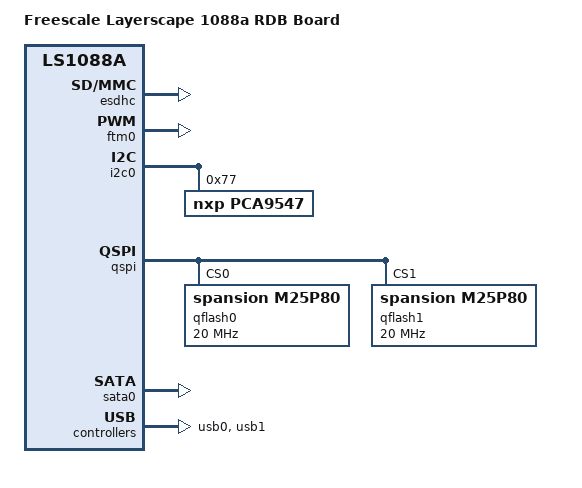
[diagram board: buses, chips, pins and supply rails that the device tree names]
/*
 * Device Tree file for Freescale LS1088a RDB board
 *
 * Copyright (C) 2015, Freescale Semiconductor
 *
 * This file is licensed under the terms of the GNU General Public
 * License version 2.  This program is licensed "as is" without any
 * warranty of any kind, whether express or implied.
 */

/dts-v1/;

#include "fsl-ls1088a.dtsi"

/ {
	model = "Freescale Layerscape 1088a RDB Board";
	compatible = "fsl,ls1088a-rdb", "fsl,ls1088a";
};

&esdhc {
	status = "okay";
};

&ifc {
	status = "disabled";
};

&ftm0 {
	status = "okay";
};

&i2c0 {
	status = "okay";
	pca9547@77 {
		compatible = "nxp,pca9547";
		reg = <0x77>;
		#address-cells = <1>;
		#size-cells = <0>;
		i2c-mux-never-disable;
	};
};

&i2c1 {
	status = "disabled";
};

&i2c2 {
	status = "disabled";
};

&i2c3 {
	status = "disabled";
};

&dspi {
	status = "disabled";
};

&qspi {
	status = "okay";
	qflash0: s25fs512s@0 {
		compatible = "spansion,m25p80";
		#address-cells = <1>;
		#size-cells = <1>;
		spi-max-frequency = <20000000>;
		reg = <0>;
	};

	qflash1: s25fs512s@1 {
		compatible = "spansion,m25p80";
		#address-cells = <1>;
		#size-cells = <1>;
		spi-max-frequency = <20000000>;
		reg = <1>;
	};
};

&sata0 {
	status = "okay";
};

&usb0 {
	status = "okay";
};

&usb1 {
	status = "okay";
};
